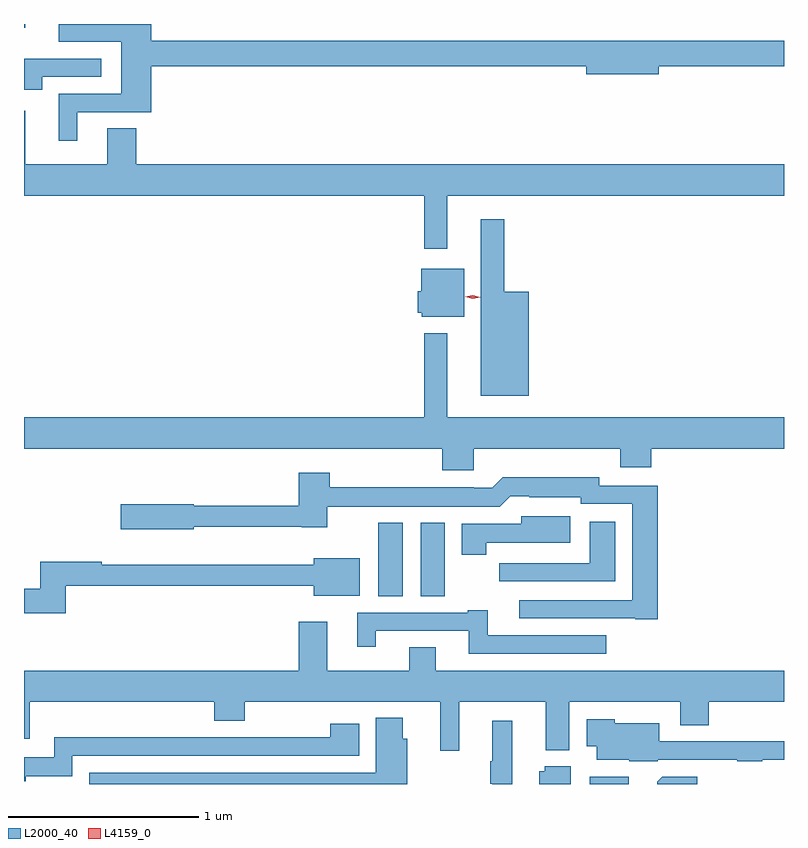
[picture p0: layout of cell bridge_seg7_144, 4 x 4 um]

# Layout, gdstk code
import gdstk
lib = gdstk.Library(unit=1e-6, precision=1e-09)
def R(c, l, rs):  # rectangles x0, y0, x1, y1
    for r in rs: c.add(gdstk.rectangle(r[:2], r[2:], *l))
def P(c, l, *ps):  # polygons
    for p in ps: c.add(gdstk.Polygon(p, *l))
L2000_40 = (2000, 40)
L4159_0 = (4159, 0)

bridge_seg7_144 = lib.new_cell('bridge_seg7_144')
R(bridge_seg7_144, L2000_40, [(852.452,1064.119,852.658,1064.156), (851.561,1065.106,851.689,1065.493), (851.339,1065.108,851.467,1065.493), (849.474,1068.099,849.481,1068.119)])
P(bridge_seg7_144, L2000_40, [(849.754,1067.655),(850.145,1067.655),(850.145,1067.896),(852.434,1067.896),(852.434,1067.854),(852.814,1067.854),(852.814,1067.896),(853.474,1067.896),(853.474,1068.032),(850.145,1068.032),(850.145,1068.119),(849.656,1068.119),(849.656,1068.026),(849.986,1068.026),(849.986,1067.751),(849.656,1067.751),(849.656,1067.505),(849.754,1067.505)],
  [(849.571,1067.841),(849.88,1067.841),(849.88,1067.937),(849.474,1067.937),(849.474,1067.774),(849.571,1067.774)],
  [(851.701,1067.216),(853.474,1067.216),(853.474,1067.38),(850.064,1067.38),(850.064,1067.57),(849.911,1067.57),(849.911,1067.38),(849.481,1067.38),(849.481,1067.662),(849.474,1067.662),(849.474,1067.216),(851.58,1067.216),(851.58,1066.935),(851.701,1066.935)],
  [(852.13,1066.711),(852.001,1066.711),(852.001,1067.092),(851.879,1067.092),(851.879,1066.163),(852.13,1066.163)],
  [(851.791,1066.831),(851.564,1066.831),(851.564,1066.713),(851.546,1066.713),(851.546,1066.599),(851.568,1066.599),(851.568,1066.577),(851.791,1066.577)],
  [(851.84,1065.884),(852.611,1065.884),(852.611,1065.785),(852.776,1065.785),(852.776,1065.884),(853.474,1065.884),(853.474,1066.048),(851.701,1066.048),(851.701,1066.492),(851.58,1066.492),(851.58,1066.048),(849.474,1066.048),(849.474,1065.884),(851.675,1065.884),(851.675,1065.77),(851.84,1065.77)],
  [(852.809,1065.69),(852.501,1065.69),(852.501,1065.733),(851.994,1065.733),(851.939,1065.678),(851.84,1065.678),(851.84,1065.682),(851.084,1065.682),(851.084,1065.757),(850.919,1065.757),(850.919,1065.583),(850.368,1065.583),(850.368,1065.591),(849.984,1065.591),(849.984,1065.461),(850.368,1065.461),(850.368,1065.473),(850.935,1065.473),(850.935,1065.47),(851.071,1065.47),(851.071,1065.578),(851.978,1065.578),(852.033,1065.633),(852.133,1065.633),(852.133,1065.629),(852.405,1065.629),(852.405,1065.594),(852.674,1065.594),(852.674,1065.087),(852.081,1065.087),(852.081,1064.991),(852.692,1064.991),(852.692,1064.986),(852.809,1064.986)],
  [(851.908,1065.389),(852.349,1065.389),(852.349,1065.529),(852.09,1065.529),(852.09,1065.49),(851.778,1065.49),(851.778,1065.326),(851.908,1065.326)],
  [(852.586,1065.499),(852.452,1065.499),(852.452,1065.282),(852.085,1065.282),(852.085,1065.28),(851.975,1065.28),(851.975,1065.186),(852.586,1065.186)],
  [(849.695,1065.162),(851,1065.162),(851,1065.11),(851.242,1065.11),(851.242,1065.307),(851,1065.307),(851,1065.272),(849.882,1065.272),(849.882,1065.29),(849.559,1065.29),(849.559,1065.146),(849.474,1065.146),(849.474,1065.018),(849.695,1065.018)],
  [(852.538,1064.901),(851.914,1064.901),(851.914,1065.034),(851.81,1065.034),(851.81,1065.021),(851.228,1065.021),(851.228,1064.841),(851.326,1064.841),(851.326,1064.925),(851.816,1064.925),(851.816,1064.805),(852.538,1064.805)],
  [(851.764,1064.552),(852.221,1064.552),(852.221,1064.297),(852.343,1064.297),(852.343,1064.552),(852.929,1064.552),(852.929,1064.428),(853.077,1064.428),(853.077,1064.552),(853.474,1064.552),(853.474,1064.716),(851.641,1064.716),(851.641,1064.84),(851.501,1064.84),(851.501,1064.716),(851.071,1064.716),(851.071,1064.974),(850.919,1064.974),(850.919,1064.716),(849.474,1064.716),(849.474,1064.358),(849.505,1064.358),(849.505,1064.552),(850.475,1064.552),(850.475,1064.453),(850.635,1064.453),(850.635,1064.552),(851.666,1064.552),(851.666,1064.295),(851.764,1064.295)],
  [(851.49,1064.358),(851.467,1064.358),(851.467,1064.467),(851.324,1064.467),(851.324,1064.179),(851.107,1064.179),(851.107,1064.178),(850.046,1064.178),(850.046,1064.179),(849.817,1064.179),(849.817,1064.119),(851.49,1064.119)],
  [(852.81,1064.247),(853.227,1064.247),(853.227,1064.24),(853.359,1064.24),(853.359,1064.246),(853.474,1064.246),(853.474,1064.343),(853.459,1064.343),(853.459,1064.345),(853.227,1064.345),(853.227,1064.343),(852.817,1064.343),(852.817,1064.44),(852.582,1064.44),(852.582,1064.461),(852.437,1064.461),(852.437,1064.318),(852.488,1064.318),(852.488,1064.246),(852.66,1064.246),(852.66,1064.24),(852.81,1064.24)],
  [(852.043,1064.452),(851.939,1064.452),(851.939,1064.239),(851.929,1064.239),(851.929,1064.12),(851.939,1064.12),(851.939,1064.119),(852.043,1064.119)],
  [(849.484,1064.16),(849.729,1064.16),(849.729,1064.268),(851.239,1064.268),(851.239,1064.437),(851.086,1064.437),(851.086,1064.366),(850.723,1064.366),(850.723,1064.364),(850.391,1064.364),(850.391,1064.366),(849.633,1064.366),(849.633,1064.261),(849.474,1064.261),(849.474,1064.133),(849.484,1064.133)],
  [(852.352,1064.212),(852.216,1064.212),(852.216,1064.187),(852.185,1064.187),(852.185,1064.119),(852.352,1064.119)],
  [(853.018,1064.158),(852.832,1064.158),(852.806,1064.132),(852.806,1064.119),(853.018,1064.119)])
P(bridge_seg7_144, L4159_0, [(851.835,1066.672),(851.797,1066.683),(851.797,1066.683),(851.797,1066.683),(851.836,1066.692),(851.874,1066.681),(851.874,1066.681),(851.874,1066.68)])

lib.write_gds('bridge_seg7_144.gds')
